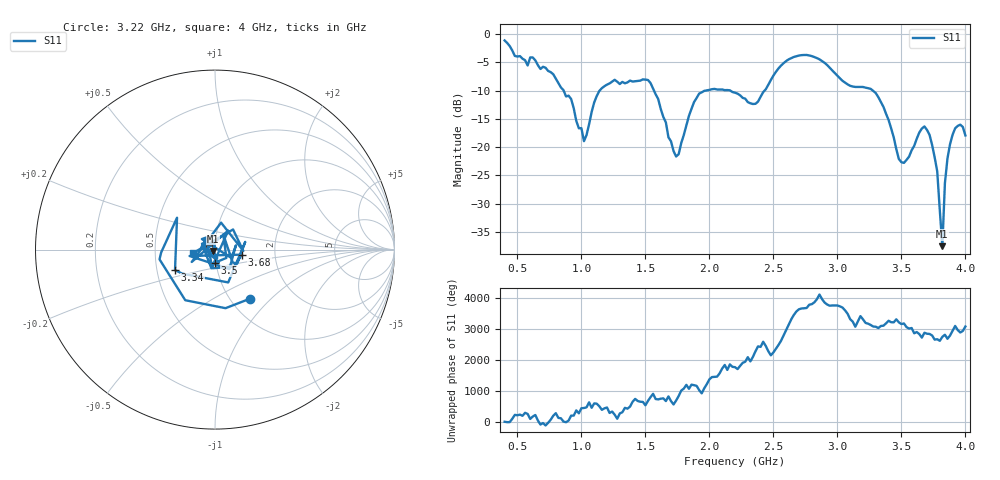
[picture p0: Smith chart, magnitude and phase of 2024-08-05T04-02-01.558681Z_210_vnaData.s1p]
!Created with skrf (http://scikit-rf.org).
# Hz S RI R 50.0
!freq ReS11 ImS11
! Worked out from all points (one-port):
!   181 points, 400 MHz to 4 GHz, reference 50 ohm
!   lowest |S11| = -37.5 dB at 3.82 GHz (marker M1), VSWR 1.03, Z = 49 - j0.805 ohm
!   |S11| at or under -10 dB: 861.2 MHz to 1.143 GHz (281.6 MHz wide, 28.1 % of centre); 1.567 GHz to 1.974 GHz (406.6 MHz wide, 23 % of centre); 3.276 GHz to end of sweep (the widest 3 of 4)
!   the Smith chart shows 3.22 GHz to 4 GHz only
!   S11 on the Smith chart (normalised r, x): 3.22 GHz: 1.22, -0.75; 3.34 GHz: 0.62, -0.15; 3.5 GHz: 0.99, -0.15; 3.68 GHz: 1.35, -0.08; 4 GHz: 0.78, -0.03
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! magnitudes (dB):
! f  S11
! 400 MHz  -1.2
! 860 MHz  -9.9
! 920 MHz  -11.5
! 1.02 GHz  -18.9
! 1.14 GHz  -10.1
! 1.3 GHz  -8.9
! 1.54 GHz  -8.7
! 1.72 GHz  -20.7
! 1.76 GHz  -21.2
! 1.84 GHz  -14.5
! 1.92 GHz  -10.5
! 2.2 GHz  -10.4
! 2.36 GHz  -12.3
! 2.66 GHz  -4.1
! 2.86 GHz  -4.5
! 3.1 GHz  -9.2
! 3.22 GHz  -9.5
! 3.34 GHz  -12.0
! 3.5 GHz  -22.7
! 3.56 GHz  -21.7
! 3.68 GHz  -16.3
! 3.72 GHz  -17.8
! 3.78 GHz  -24.3
! 3.82 GHz  -37.5
! 3.84 GHz  -26.4
! 3.88 GHz  -19.5
! 3.94 GHz  -16.2
! 4 GHz  -17.9
